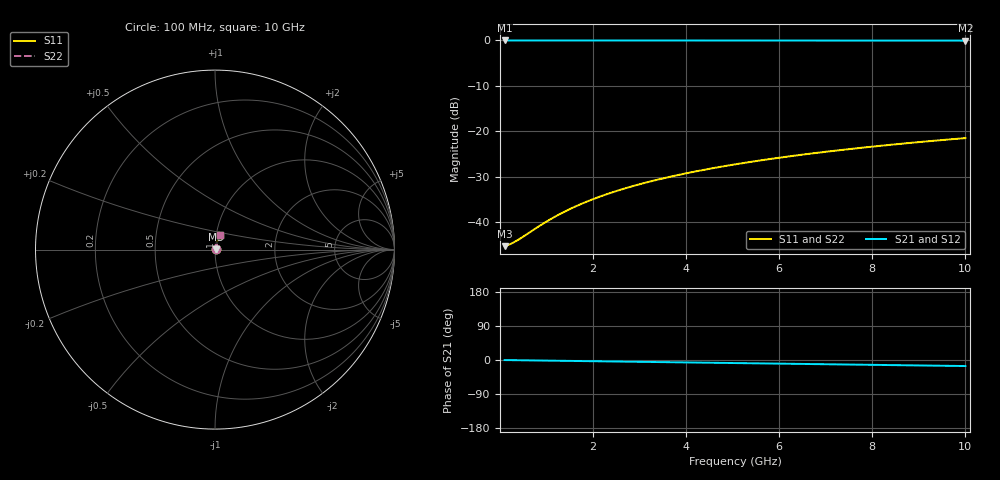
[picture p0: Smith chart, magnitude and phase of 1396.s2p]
# Hz S RI R 50.00
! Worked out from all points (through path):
!   100 points, 100 MHz to 10 GHz, reference 50 ohm
!   highest |S21| = -0.05 dB at 100 MHz (marker M1); lowest = -0.1 dB at 10 GHz (marker M2)
!   group delay of S21, straight-line fit = 4.44 ps
!   lowest |S11| = -45.2 dB at 100 MHz (marker M3), VSWR 1.01, Z = 50.5 + j0.0847 ohm
!   |S11| at or under -10 dB: start of sweep to end of sweep
!   |S22| runs from -45.2 to -21.5 dB; largest |S21 - S12| = 0
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1e8  0.0054 0.000838  0.9946 -0.00278  0.9946 -0.00278  0.0054 0.000838
2e8  0.00545 0.00168  0.9945 -0.00555  0.9945 -0.00555  0.00545 0.00168
3e8  0.00548 0.00251  0.9945 -0.00833  0.9945 -0.00833  0.00548 0.00251
4e8  0.00552 0.00335  0.9944 -0.0111  0.9944 -0.0111  0.00552 0.00335
9e8  0.00574 0.00754  0.9941 -0.025  0.9941 -0.025  0.00574 0.00754
1.2e9  0.00592 0.01  0.9938 -0.0333  0.9938 -0.0333  0.00592 0.01
1.5e9  0.00614 0.0125  0.9934 -0.0416  0.9934 -0.0416  0.00614 0.0125
1.8e9  0.00639 0.015  0.993 -0.0499  0.993 -0.0499  0.00639 0.015
2.1e9  0.00669 0.0175  0.9924 -0.0583  0.9924 -0.0583  0.00669 0.0175
2.5e9  0.00714 0.0209  0.9916 -0.0693  0.9916 -0.0693  0.00714 0.0209
2.9e9  0.00767 0.0242  0.9907 -0.0804  0.9907 -0.0804  0.00767 0.0242
3.4e9  0.00843 0.0283  0.9893 -0.0942  0.9893 -0.0942  0.00843 0.0283
3.8e9  0.00912 0.0315  0.9881 -0.1052  0.9881 -0.1052  0.00912 0.0315
4.2e9  0.00989 0.0348  0.9867 -0.1162  0.9867 -0.1162  0.00989 0.0348
4.6e9  0.0107 0.038  0.9852 -0.1272  0.9852 -0.1272  0.0107 0.038
5.1e9  0.0119 0.0421  0.9831 -0.1409  0.9831 -0.1409  0.0119 0.0421
5.9e9  0.0139 0.0484  0.9794 -0.1627  0.9794 -0.1627  0.0139 0.0484
6.7e9  0.0163 0.0547  0.9751 -0.1844  0.9751 -0.1844  0.0163 0.0547
7.5e9  0.0189 0.0608  0.9703 -0.206  0.9703 -0.206  0.0189 0.0608
8.4e9  0.0222 0.0676  0.9644 -0.2301  0.9644 -0.2301  0.0222 0.0676
9.2e9  0.0253 0.0734  0.9585 -0.2514  0.9585 -0.2514  0.0253 0.0734
1e10  0.0288 0.0791  0.9521 -0.2725  0.9521 -0.2725  0.0288 0.0791
